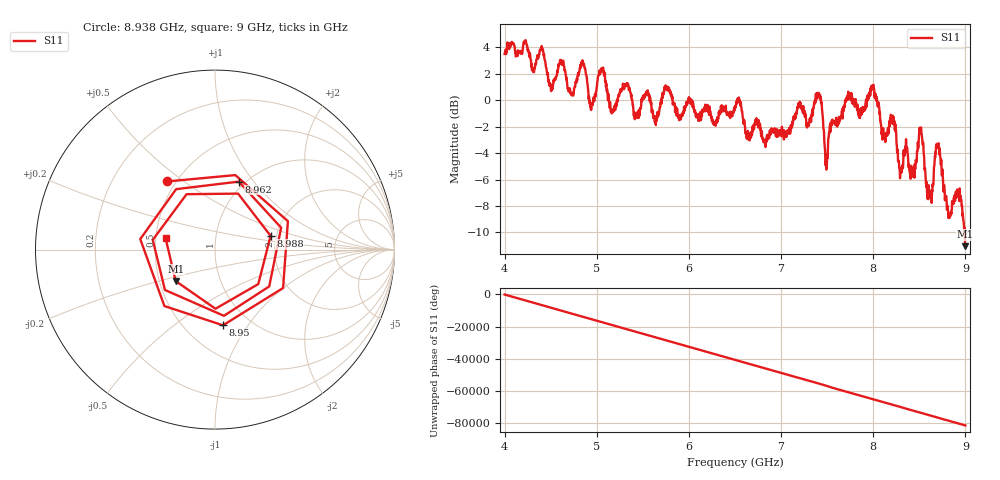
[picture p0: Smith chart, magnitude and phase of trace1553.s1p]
! Created with skrf 1.8.0 (http://scikit-rf.org).
# Hz S RI R 50.0
!freq ReS11 ImS11
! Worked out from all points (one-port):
!   1601 points, 4 GHz to 9 GHz, reference 50 ohm
!   lowest |S11| = -11.0 dB at 8.997 GHz (marker M1), VSWR 1.78, Z = 30.4 - j11.5 ohm
!   |S11| at or under -10 dB: 8.988778 GHz to 8.992136 GHz (3.359 MHz wide, 0.0374 % of centre); 8.994772 GHz to end of sweep
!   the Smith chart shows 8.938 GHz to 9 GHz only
!   S11 on the Smith chart (normalised r, x): 8.938 GHz: 0.45, +0.43; 8.95 GHz: 0.75, -0.77; 8.962 GHz: 0.94, +0.85; 8.988 GHz: 1.86, +0.32; 9 GHz: 0.56, +0.08
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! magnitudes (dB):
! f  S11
! 4 GHz  3.5
! 4.625 GHz  2.9
! 4.725 GHz  0.5
! 4.853 GHz  2.6
! 4.938 GHz  -0.7
! 5.05 GHz  2.2
! 5.162 GHz  -1.0
! 5.25 GHz  0.6
! 5.875 GHz  -1.0
! 6.5 GHz  -0.7
! 6.65 GHz  -2.8
! 7.125 GHz  -1.6
! 7.409 GHz  0.6
! 7.494 GHz  -5.0
! 7.75 GHz  0.2
! 7.997 GHz  1.2
! 8.109 GHz  -2.1
! 8.375 GHz  -4.1
! 8.519 GHz  -2.1
! 8.609 GHz  -7.2
! 8.7 GHz  -3.3
! 8.822 GHz  -8.9
! 8.938 GHz  -6.7
! 8.95 GHz  -7.5
! 8.962 GHz  -7.9
! 8.988 GHz  -9.9
! 8.997 GHz  -11.0
! 9 GHz  -11.0
